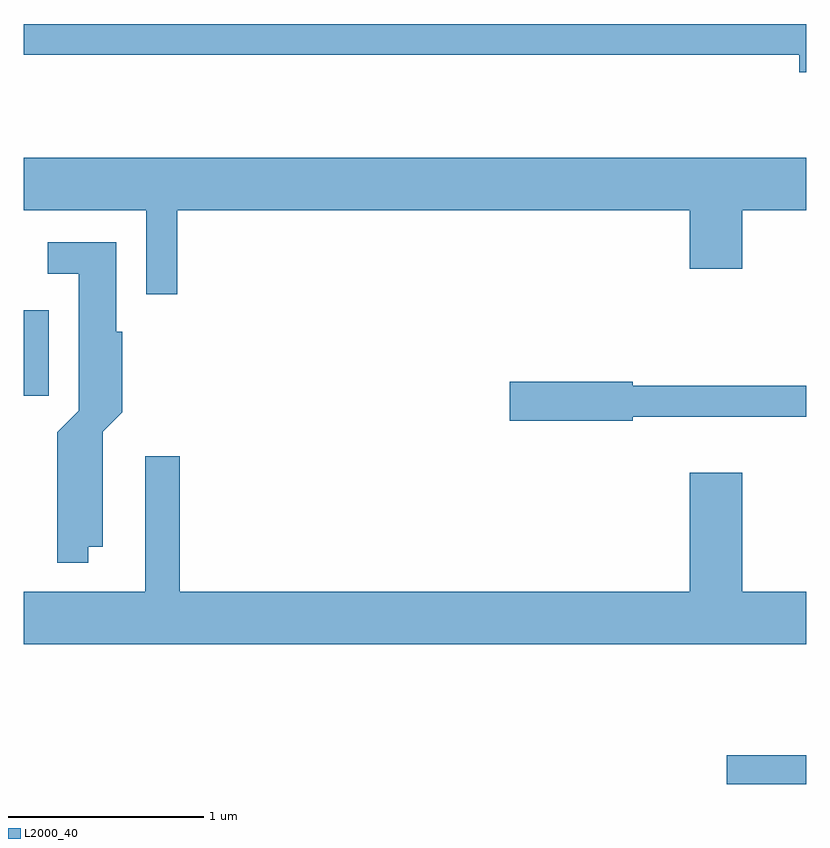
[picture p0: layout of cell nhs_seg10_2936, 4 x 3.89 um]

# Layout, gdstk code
import gdstk
lib = gdstk.Library(unit=1e-6, precision=1e-09)
def R(c, l, rs):  # rectangles x0, y0, x1, y1
    for r in rs: c.add(gdstk.rectangle(r[:2], r[2:], *l))
def P(c, l, *ps):  # polygons
    for p in ps: c.add(gdstk.Polygon(p, *l))
L2000_40 = (2000, 40)

nhs_seg10_2936 = lib.new_cell('nhs_seg10_2936')
R(nhs_seg10_2936, L2000_40, [(275.206,2126.522,275.611,2126.669), (271.611,2128.508,271.739,2128.944)])
P(nhs_seg10_2936, L2000_40, [(275.611,2130.409),(271.611,2130.409),(271.611,2130.251),(275.576,2130.251),(275.576,2130.161),(275.611,2130.161)],
  [(272.394,2129.456),(275.016,2129.456),(275.016,2129.156),(275.284,2129.156),(275.284,2129.456),(275.611,2129.456),(275.611,2129.724),(271.611,2129.724),(271.611,2129.456),(272.236,2129.456),(272.236,2129.028),(272.394,2129.028)],
  [(271.939,2127.736),(272.014,2127.736),(272.014,2128.324),(272.114,2128.424),(272.114,2128.834),(272.084,2128.834),(272.084,2129.294),(271.733,2129.294),(271.733,2129.131),(271.891,2129.131),(271.891,2128.432),(271.781,2128.322),(271.781,2127.653),(271.939,2127.653)],
  [(274.724,2128.401),(275.611,2128.401),(275.611,2128.559),(274.724,2128.559),(274.724,2128.579),(274.096,2128.579),(274.096,2128.381),(274.724,2128.381)],
  [(275.611,2127.504),(275.284,2127.504),(275.284,2128.114),(275.016,2128.114),(275.016,2127.504),(272.409,2127.504),(272.409,2128.199),(272.231,2128.199),(272.231,2127.504),(271.611,2127.504),(271.611,2127.236),(275.611,2127.236)])

lib.write_gds('nhs_seg10_2936.gds')
